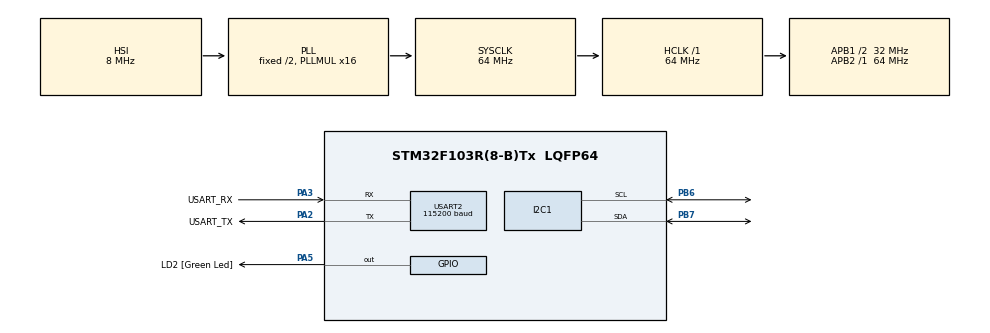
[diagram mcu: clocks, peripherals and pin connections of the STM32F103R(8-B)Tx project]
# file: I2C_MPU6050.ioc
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Mcu.Family=STM32F1
Mcu.Name=STM32F103R(8-B)Tx
Mcu.Package=LQFP64
NVIC.PriorityGroup=NVIC_PRIORITYGROUP_4
PA13.GPIO_Label=TMS
PA13.Mode=Serial_Wire
PA13.Signal=SYS_JTMS-SWDIO
PA14.GPIO_Label=TCK
PA14.Mode=Serial_Wire
PA14.Signal=SYS_JTCK-SWCLK
PA2.GPIO_Label=USART_TX
PA2.GPIO_Mode=GPIO_MODE_AF_PP
PA2.GPIO_PuPd=GPIO_NOPULL
PA2.GPIO_Speed=GPIO_SPEED_FREQ_LOW
PA2.Mode=Asynchronous
PA2.Signal=USART2_TX
PA3.GPIO_Label=USART_RX
PA3.GPIO_PuPd=GPIO_NOPULL
PA3.GPIO_Speed=GPIO_SPEED_FREQ_LOW
PA3.Mode=Asynchronous
PA3.Signal=USART2_RX
PA5.GPIO_Label=LD2 [Green Led]
PA5.GPIO_ModeDefaultOutputPP=GPIO_MODE_OUTPUT_PP
PA5.GPIO_PuPd=GPIO_NOPULL
PA5.GPIO_Speed=GPIO_SPEED_FREQ_LOW
PA5.Signal=GPIO_Output
PB3.GPIO_Label=SWO
PB3.Signal=SYS_JTDO-TRACESWO
PB6.Mode=I2C
PB6.Signal=I2C1_SCL
PB7.Mode=I2C
PB7.Signal=I2C1_SDA
PC14-OSC32_IN.Mode=LSE-External-Oscillator
PC14-OSC32_IN.Signal=RCC_OSC32_IN
PC15-OSC32_OUT.Mode=LSE-External-Oscillator
PC15-OSC32_OUT.Signal=RCC_OSC32_OUT
PD0-OSC_IN.Mode=HSE-External-Clock-Source
PD0-OSC_IN.Signal=RCC_OSC_IN
PD1-OSC_OUT.Mode=HSE-External-Clock-Source
PD1-OSC_OUT.Signal=RCC_OSC_OUT
ProjectManager.HeapSize=0x200
ProjectManager.StackSize=0x400
ProjectManager.TargetToolchain=STM32CubeIDE
RCC.AHBFreq_Value=64000000
RCC.APB1CLKDivider=RCC_HCLK_DIV2
RCC.APB1Freq_Value=32000000
RCC.APB1TimFreq_Value=64000000
RCC.APB2Freq_Value=64000000
RCC.APB2TimFreq_Value=64000000
RCC.HCLKFreq_Value=64000000
RCC.PLLMUL=RCC_PLL_MUL16
RCC.RTCClockSelection=RCC_RTCCLKSOURCE_LSE
RCC.SYSCLKFreq_VALUE=64000000
RCC.SYSCLKSource=RCC_SYSCLKSOURCE_PLLCLK
RCC.USBFreq_Value=64000000
USART2.BaudRate=115200
USART2.VirtualMode=VM_ASYNC
board=NUCLEO-F103RB

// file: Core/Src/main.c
/* USER CODE BEGIN Header */
/**
 ******************************************************************************
 * @file           : main.c
 * @brief          : Main program body
 ******************************************************************************
 * @attention
 *
 * Copyright (c) 2026 STMicroelectronics.
 * All rights reserved.
 *
 * This software is licensed under terms that can be found in the LICENSE file
 * in the root directory of this software component.
 * If no LICENSE file comes with this software, it is provided AS-IS.
 *
 ******************************************************************************
 */
/**
 * 03_I2C_MPU6050_HAL_c  —  [계층: HAL]  I2C 레지스터 읽기로 MPU6050 가속도/자이로/온도 읽기
 *
 * 배선: MPU6050(GY-521) VCC=3.3V, GND, SCL=PB6, SDA=PB7, AD0=GND (7비트 주소 0x68)
 *
 * 동작
 *   1) WHO_AM_I(0x75) 를 읽어 0x68 인지 확인
 *   2) PWR_MGMT_1(0x6B)=0 으로 슬립 해제 (리셋 직후 MPU6050 은 슬립 상태)
 *   3) 200ms 마다 0x3B 부터 14바이트(ACCEL XYZ, TEMP, GYRO XYZ)를 한 번에 읽어 UART(115200)로 출력
 *
 * 단위 변환 (기본 범위: 가속도 ±2g, 자이로 ±250°/s)
 *   가속도: 16384 LSB/g  -> mg = raw x 1000 / 16384
 *   자이로: 131 LSB/(°/s) -> 0.1°/s = raw x 10 / 131
 *   온도  : T[°C] = raw/340 + 36.53  -> 0.01°C 단위 = raw x 100 / 340 + 3653   (부동소수점 없이 정수 연산)
 *
 * I2C 메모리 읽기 시퀀스 (HAL_I2C_Mem_Read)
 *   START - [0x68<<1|W] - [레지스터 주소] - RESTART - [0x68<<1|R] - 데이터 N바이트(마지막 NACK) - STOP
 *
 * 인터럽트를 사용하지 않는다 (폴링). 비동기로 바꾸려면 HAL_I2C_Mem_Read_IT/_DMA 와
 * HAL_I2C_MemRxCpltCallback 을 사용한다 (ISR: I2C1_EV_IRQHandler/I2C1_ER_IRQHandler -> HAL_I2C_EV/ER_IRQHandler).
 */
/* USER CODE END Header */
#include "main.h"

/* USER CODE BEGIN Includes */
#include <stdio.h>
#include <string.h>
/* USER CODE END Includes */

/* USER CODE BEGIN PD */
#define MPU_ADDR      (0x68 << 1)   /* HAL 은 7비트 주소를 왼쪽으로 1비트 민 값을 요구 */
#define REG_WHO_AM_I  0x75
#define REG_PWR_MGMT1 0x6B
#define REG_ACCEL_OUT 0x3B

/* USER CODE END PD */

I2C_HandleTypeDef hi2c1;
UART_HandleTypeDef huart2;

void SystemClock_Config(void);
static void MX_GPIO_Init(void);
static void MX_I2C1_Init(void);
static void MX_USART2_UART_Init(void);

/* USER CODE BEGIN 0 */
static void print(const char *s) { HAL_UART_Transmit(&huart2, (uint8_t *)s, (uint16_t)strlen(s), 200); }
/* USER CODE END 0 */

int main(void)
{

  /* USER CODE BEGIN 1 */
    char msg[128];
    uint8_t who = 0;
  /* USER CODE END 1 */

  /* MCU Configuration--------------------------------------------------------*/

  /* Reset of all peripherals, Initializes the Flash interface and the Systick. */
  HAL_Init();

  /* Configure the system clock */
  SystemClock_Config();

  /* Initialize all configured peripherals */
  MX_GPIO_Init();
  MX_I2C1_Init();
  MX_USART2_UART_Init();
  /* USER CODE BEGIN 2 */
    if (HAL_I2C_Mem_Read(&hi2c1, MPU_ADDR, REG_WHO_AM_I, I2C_MEMADD_SIZE_8BIT, &who, 1, 100) != HAL_OK)
    {
        print("\r\nMPU6050 not responding (check wiring / pull-ups / AD0)\r\n");
        Error_Handler();
    }
    snprintf(msg, sizeof msg, "\r\nWHO_AM_I = 0x%02X (expect 0x68)\r\n", who);
    print(msg);

    uint8_t wake = 0x00;                                   /* SLEEP=0, 내부 8MHz 클럭 */
    if (HAL_I2C_Mem_Write(&hi2c1, MPU_ADDR, REG_PWR_MGMT1, I2C_MEMADD_SIZE_8BIT, &wake, 1, 100) != HAL_OK) Error_Handler();
  /* USER CODE END 2 */

  /* Infinite loop */
  while (1)
  {

    /* USER CODE BEGIN 3 */
        uint8_t b[14];
        if (HAL_I2C_Mem_Read(&hi2c1, MPU_ADDR, REG_ACCEL_OUT, I2C_MEMADD_SIZE_8BIT, b, 14, 100) == HAL_OK)
        {
            /* 상위 바이트 먼저(big-endian) 로 도착 -> int16_t 로 조립 */
            int16_t ax = (int16_t)((b[0] << 8) | b[1]);
            int16_t ay = (int16_t)((b[2] << 8) | b[3]);
            int16_t az = (int16_t)((b[4] << 8) | b[5]);
            int16_t tp = (int16_t)((b[6] << 8) | b[7]);
            int16_t gx = (int16_t)((b[8] << 8) | b[9]);
            int16_t gy = (int16_t)((b[10] << 8) | b[11]);
            int16_t gz = (int16_t)((b[12] << 8) | b[13]);

            int32_t t100 = (int32_t)tp * 100 / 340 + 3653;   /* 0.01 °C */
            snprintf(msg, sizeof msg,
                     "acc[mg] %6ld %6ld %6ld | gyro[0.1dps] %6ld %6ld %6ld | temp %ld.%02ld C\r\n",
                     (long)ax * 1000 / 16384, (long)ay * 1000 / 16384, (long)az * 1000 / 16384,
                     (long)gx * 10 / 131, (long)gy * 10 / 131, (long)gz * 10 / 131,
                     (long)(t100 / 100), (long)(t100 % 100));
            print(msg);
        }
        else
        {
            print("read error\r\n");
            HAL_I2C_DeInit(&hi2c1);                        /* 버스 오류 복구: 재초기화 */
            MX_I2C1_Init();
        }
        HAL_Delay(200);
  }
  /* USER CODE END 3 */
}

void SystemClock_Config(void)
{
  RCC_OscInitTypeDef RCC_OscInitStruct = {0};
  RCC_ClkInitTypeDef RCC_ClkInitStruct = {0};

  /** Initializes the RCC Oscillators according to the specified parameters
  * in the RCC_OscInitTypeDef structure.
  */
  RCC_OscInitStruct.OscillatorType = RCC_OSCILLATORTYPE_HSI;
  RCC_OscInitStruct.HSIState = RCC_HSI_ON;
  RCC_OscInitStruct.HSICalibrationValue = RCC_HSICALIBRATION_DEFAULT;
  RCC_OscInitStruct.PLL.PLLState = RCC_PLL_ON;
  RCC_OscInitStruct.PLL.PLLSource = RCC_PLLSOURCE_HSI_DIV2;
  RCC_OscInitStruct.PLL.PLLMUL = RCC_PLL_MUL16;
  if (HAL_RCC_OscConfig(&RCC_OscInitStruct) != HAL_OK)
  {
    Error_Handler();
  }

  /** Initializes the CPU, AHB and APB buses clocks
  */
  RCC_ClkInitStruct.ClockType = RCC_CLOCKTYPE_HCLK|RCC_CLOCKTYPE_SYSCLK
                              |RCC_CLOCKTYPE_PCLK1|RCC_CLOCKTYPE_PCLK2;
  RCC_ClkInitStruct.SYSCLKSource = RCC_SYSCLKSOURCE_PLLCLK;
  RCC_ClkInitStruct.AHBCLKDivider = RCC_SYSCLK_DIV1;
  RCC_ClkInitStruct.APB1CLKDivider = RCC_HCLK_DIV2;
  RCC_ClkInitStruct.APB2CLKDivider = RCC_HCLK_DIV1;

  if (HAL_RCC_ClockConfig(&RCC_ClkInitStruct, FLASH_LATENCY_2) != HAL_OK)
  {
    Error_Handler();
  }
}

static void MX_I2C1_Init(void)
{

  hi2c1.Instance = I2C1;
  hi2c1.Init.ClockSpeed = 100000;
  hi2c1.Init.DutyCycle = I2C_DUTYCYCLE_2;
  hi2c1.Init.OwnAddress1 = 0;
  hi2c1.Init.AddressingMode = I2C_ADDRESSINGMODE_7BIT;
  hi2c1.Init.DualAddressMode = I2C_DUALADDRESS_DISABLE;
  hi2c1.Init.OwnAddress2 = 0;
  hi2c1.Init.GeneralCallMode = I2C_GENERALCALL_DISABLE;
  hi2c1.Init.NoStretchMode = I2C_NOSTRETCH_DISABLE;
  if (HAL_I2C_Init(&hi2c1) != HAL_OK)
  {
    Error_Handler();
  }
  /* USER CODE BEGIN I2C1_Init 2 */
  /* HAL_I2C_Init -> (MspInit) 후 I2C1->CR2.FREQ = PCLK1(MHz), I2C1->CCR / TRISE = 100kHz 타이밍,
   * CR1.PE = 1. NoStretch/GeneralCall/DualAddress = OAR2.ENDUAL, CR1.NOSTRETCH/ENGC 비트 */
  /* USER CODE END I2C1_Init 2 */

}

static void MX_USART2_UART_Init(void)
{

  huart2.Instance = USART2;
  huart2.Init.BaudRate = 115200;
  huart2.Init.WordLength = UART_WORDLENGTH_8B;
  huart2.Init.StopBits = UART_STOPBITS_1;
  huart2.Init.Parity = UART_PARITY_NONE;
  huart2.Init.Mode = UART_MODE_TX_RX;
  huart2.Init.HwFlowCtl = UART_HWCONTROL_NONE;
  huart2.Init.OverSampling = UART_OVERSAMPLING_16;
  if (HAL_UART_Init(&huart2) != HAL_OK)
  {
    Error_Handler();
  }

}

static void MX_GPIO_Init(void)
{
  GPIO_InitTypeDef GPIO_InitStruct = {0};

  /* GPIO Ports Clock Enable */
  __HAL_RCC_GPIOC_CLK_ENABLE();
  __HAL_RCC_GPIOD_CLK_ENABLE();
  __HAL_RCC_GPIOA_CLK_ENABLE();
  __HAL_RCC_GPIOB_CLK_ENABLE();

  /*Configure GPIO pin Output Level */
  HAL_GPIO_WritePin(LD2_GPIO_Port, LD2_Pin, GPIO_PIN_RESET);

  /*Configure GPIO pin : LD2_Pin */
  GPIO_InitStruct.Pin = LD2_Pin;
  GPIO_InitStruct.Mode = GPIO_MODE_OUTPUT_PP;
  GPIO_InitStruct.Pull = GPIO_NOPULL;
  GPIO_InitStruct.Speed = GPIO_SPEED_FREQ_LOW;
  HAL_GPIO_Init(LD2_GPIO_Port, &GPIO_InitStruct);

}

void Error_Handler(void)
{
  __disable_irq();
  while (1) {
  }
}
#ifdef USE_FULL_ASSERT
/**
  * @brief  Reports the name of the source file and the source line number
  *         where the assert_param error has occurred.
  * @param  file: pointer to the source file name
  * @param  line: assert_param error line source number
  * @retval None
  */
void assert_failed(uint8_t *file, uint32_t line)
{
  /* USER CODE BEGIN 6 */
  /* User can add his own implementation to report the file name and line
     number, ex: printf("Wrong parameters value: file %s on line %d\r\n", file,
     line) */
  /* USER CODE END 6 */
}
#endif /* USE_FULL_ASSERT */
